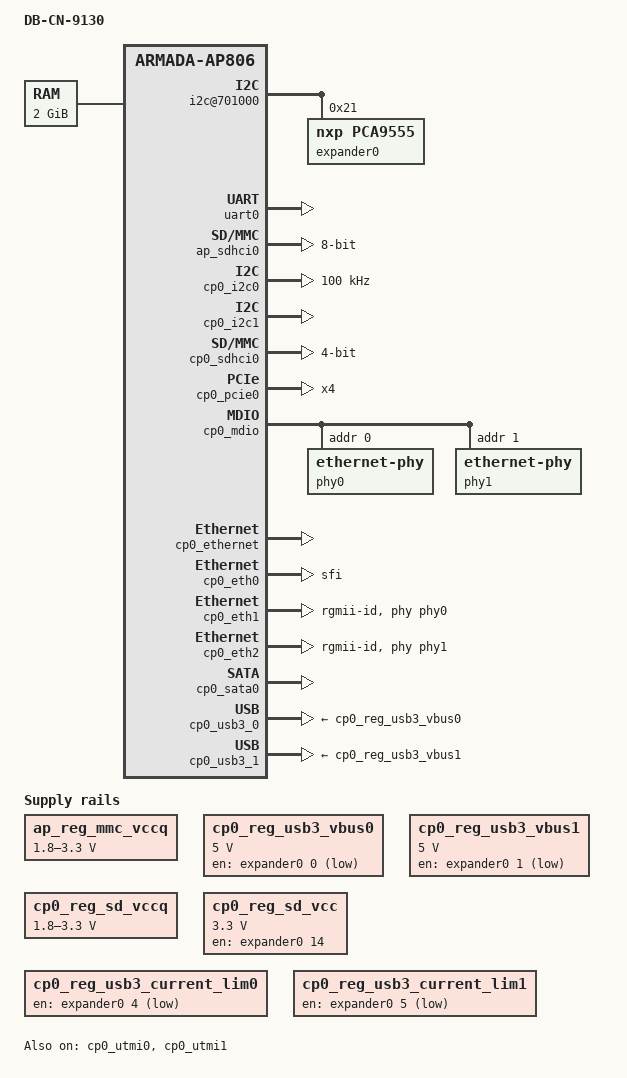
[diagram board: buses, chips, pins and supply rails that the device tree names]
// SPDX-License-Identifier: GPL-2.0+
/*
 * Copyright (C) 2018-2021 Marvell International Ltd.
 */

#include "cn9130.dtsi" /* include SoC device tree */
#include "cn9130-db-dev-info.dtsi"

/ {
	model = "DB-CN-9130";
	compatible = "marvell,cn9130-db", "marvell,cn91xx", "marvell,cn9030-vd",
		     "marvell,cn9030", "marvell,armada-ap806-quad",
		     "marvell,armada-ap806";

	chosen {
		stdout-path = "serial0:115200n8";
	};

	aliases {
		i2c0 = &cp0_i2c0;
		gpio0 = &ap_gpio0;
		gpio1 = &cp0_gpio0;
		gpio2 = &cp0_gpio1;
	};

	memory@00000000 {
		device_type = "memory";
		reg = <0x0 0x0 0x0 0x80000000>;
	};

	cp0 {
		config-space {
			i2c@701000 {
				/* U36 */
				expander0: pca953x@21 {
					compatible = "nxp,pca9555";
					#gpio-cells = <2>;
					reg = <0x21>;
					status = "okay";
				};
			};
			sdhci@780000 {
				vqmmc-supply = <&cp0_reg_sd_vccq>;
				vmmc-supply = <&cp0_reg_sd_vcc>;
			};

			ap_reg_mmc_vccq: ap_mmc_vccq@0 {
				compatible = "regulator-gpio";
				regulator-name = "ap_mmc_vccq";
				regulator-min-microvolt = <1800000>;
				regulator-max-microvolt = <3300000>;
				gpios = <&expander0 8 GPIO_ACTIVE_HIGH>;
				states = <1800000 0x1
					  3300000 0x0>;
			};
			cp0_reg_usb3_vbus0: cp0_usb3_vbus@0 {
				compatible = "regulator-fixed";
				regulator-name = "cp0-xhci0-vbus";
				regulator-min-microvolt = <5000000>;
				regulator-max-microvolt = <5000000>;
				startup-delay-us = <100000>;
				regulator-force-boot-off;
				gpio = <&expander0 0 GPIO_ACTIVE_HIGH>;
			};

			cp0_reg_usb3_vbus1: cp0_usb3_vbus@1 {
				compatible = "regulator-fixed";
				regulator-name = "cp0-xhci1-vbus";
				regulator-min-microvolt = <5000000>;
				regulator-max-microvolt = <5000000>;
				startup-delay-us = <100000>;
				regulator-force-boot-off;
				gpio = <&expander0 1 GPIO_ACTIVE_HIGH>;
			};
			cp0_reg_sd_vccq: cp0_sd_vccq@0 {
				compatible = "regulator-gpio";
				regulator-name = "cp0_sd_vccq";
				regulator-min-microvolt = <1800000>;
				regulator-max-microvolt = <3300000>;
				gpios = <&expander0 15 GPIO_ACTIVE_HIGH>;
				states = <1800000 0x1
					  3300000 0x0>;
			};
			cp0_reg_sd_vcc: cp0_sd_vcc@0 {
				compatible = "regulator-fixed";
				regulator-name = "cp0_sd_vcc";
				regulator-min-microvolt = <3300000>;
				regulator-max-microvolt = <3300000>;
				gpio = <&expander0 14 GPIO_ACTIVE_HIGH>;
				enable-active-high;
				regulator-always-on;
			};
			cp0_reg_usb3_current_lim0:cp0_usb3_current_limiter@0 {
				compatible = "regulator-fixed";
				regulator-min-microamp = <900000>;
				regulator-max-microamp = <900000>;
				regulator-force-boot-off;
				gpio = <&expander0 4 GPIO_ACTIVE_HIGH>;
			};

			cp0_reg_usb3_current_lim1: cp0_usb3_current_limiter@1 {
				compatible = "regulator-fixed";
				regulator-min-microamp = <900000>;
				regulator-max-microamp = <900000>;
				regulator-force-boot-off;
				gpio = <&expander0 5 GPIO_ACTIVE_HIGH>;
			};
		};
	};
};

&uart0 {
	status = "okay";
};

/*
 * AP related configuration
 */
&ap_pinctl {
	/* MPP Bus:
	 * SDIO  [0-10, 12]
	 * UART0 [11,19]
	 */
		/*   0 1 2 3 4 5 6 7 8 9 */
	pin-func = < 1 1 1 1 1 1 1 1 1 1
		     1 3 1 0 0 0 0 0 0 3 >;
};

/* on-board eMMC - U9 */
&ap_sdhci0 {
	pinctrl-names = "default";
	pinctrl-0 = <&ap_emmc_pins>;
	vqmmc-supply = <&ap_reg_mmc_vccq>;
	bus-width = <8>;
	mmc-ddr-1_8v;
	mmc-hs400-1_8v;
	status = "okay";
};

/*
 * CP related configuration
 */
&cp0_pinctl {
	cp0_nand_pins: cp0-nand-pins {
		marvell,pins = <15 16 17 18 19 20 21 22 23 24 25 26 27 >;
		marvell,function = <1>;
	};
	cp0_nand_rb: cp0-nand-rb {
		marvell,pins = < 13 >;
		marvell,function = <2>;
	};
};

/*
 * CP0
 */
&cp0_i2c0 {
	pinctrl-names = "default";
	pinctrl-0 = <&cp0_i2c0_pins>;
	status = "okay";
	clock-frequency = <100000>;
};

&cp0_i2c1 {
	status = "okay";
};

/* CON 28 */
&cp0_sdhci0 {
	pinctrl-names = "default";
	pinctrl-0 = <&cp0_sdhci_pins>;
	bus-width = <4>;
	status = "okay";
};

/* U54 */
&cp0_nand {
	pinctrl-names = "default";
	pinctrl-0 = <&cp0_nand_pins &cp0_nand_rb>;
	status = "disabled";
};

/* U55 */
&cp0_spi1 {
	pinctrl-names = "default";
	pinctrl-0 = <&cp0_spi1_pins>;
	reg = <0x700680 0x50>,		/* control */
	      <0x2000000 0x1000000>,	/* CS0 */
	      <0 0xffffffff>,		/* CS1 */
	      <0 0xffffffff>,		/* CS2 */
	      <0 0xffffffff>;		/* CS3 */
	status = "disabled";

	spi-flash@0 {
		#address-cells = <0x1>;
		#size-cells = <0x1>;
		compatible = "jedec,spi-nor", "spi-flash";
		reg = <0x0>;
		/* On-board MUX does not allow higher frequencies */
		spi-max-frequency = <40000000>;

		partitions {
			compatible = "fixed-partitions";
			#address-cells = <1>;
			#size-cells = <1>;

			partition@0 {
				label = "U-Boot";
				reg = <0x0 0x200000>;
			};

			partition@400000 {
				label = "Filesystem";
				reg = <0x200000 0xe00000>;
			};
		};
	};
};

&cp0_comphy {
	phy0 {
		phy-type = <COMPHY_TYPE_PEX0>;
	};

	phy1 {
		phy-type = <COMPHY_TYPE_PEX0>;
	};

	phy2 {
		phy-type = <COMPHY_TYPE_PEX0>;
	};

	phy3 {
		phy-type = <COMPHY_TYPE_PEX0>;
	};

	phy4 {
		phy-type = <COMPHY_TYPE_SFI0>;
		phy-speed = <COMPHY_SPEED_10_3125G>;
	};

	phy5 {
		phy-type = <COMPHY_TYPE_SATA1>;
	};
};

/* SLM-1521-V2, CON6 */
&cp0_pcie0 {
	num-lanes = <4>;
	status = "disabled";
};

&cp0_mdio {
	status = "okay";
	phy0: ethernet-phy@0 {
		reg = <0>;
	};
	phy1: ethernet-phy@1 {
		reg = <1>;
	};
};

&cp0_ethernet {
	status = "okay";
};

/* SLM-1521-V2, CON9 */
&cp0_eth0 {
	status = "okay";
	phy-mode = "sfi";
};

/* CON56 */
&cp0_eth1 {
	status = "okay";
	phy = <&phy0>;
	phy-mode = "rgmii-id";
};

/* CON57 */
&cp0_eth2 {
	status = "okay";
	phy = <&phy1>;
	phy-mode = "rgmii-id";
};

/* SLM-1521-V2, CON2 */
&cp0_sata0 {
	status = "okay";
};

&cp0_utmi0 {
	status = "okay";
};

&cp0_utmi1 {
	status = "okay";
};

&cp0_usb3_0 {
	status = "okay";
	vbus-supply = <&cp0_reg_usb3_vbus0>;
	current-limiter = <&cp0_reg_usb3_current_lim0>;
	vbus-disable-delay = <500>;
};

&cp0_usb3_1 {
	status = "okay";
	vbus-supply = <&cp0_reg_usb3_vbus1>;
	current-limiter = <&cp0_reg_usb3_current_lim1>;
	vbus-disable-delay = <500>;
};

&cp0_pcie0 {
	status = "okay";
};
